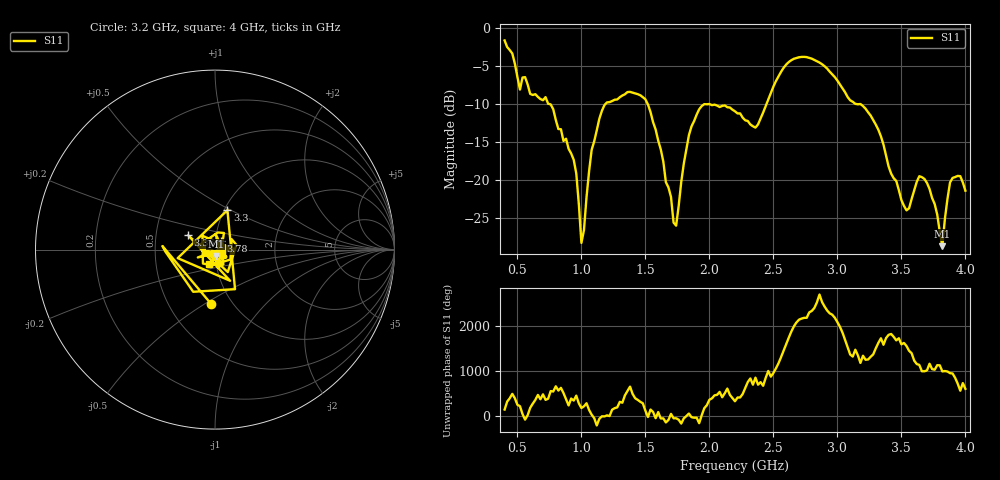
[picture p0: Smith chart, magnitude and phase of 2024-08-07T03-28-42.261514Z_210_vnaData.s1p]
!Created with skrf (http://scikit-rf.org).
# Hz S RI R 50.0
!freq ReS11 ImS11
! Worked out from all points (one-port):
!   181 points, 400 MHz to 4 GHz, reference 50 ohm
!   lowest |S11| = -28.8 dB at 3.82 GHz (marker M1), VSWR 1.08, Z = 50.3 - j3.64 ohm
!   |S11| at or under -10 dB: 741.2 MHz to 1.19 GHz (448.4 MHz wide, 46.4 % of centre); 1.517 GHz to 2.447 GHz (929.7 MHz wide, 46.9 % of centre); 3.139 GHz to end of sweep
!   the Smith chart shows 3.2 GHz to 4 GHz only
!   S11 on the Smith chart (normalised r, x): 3.2 GHz: 0.80, -0.54; 3.3 GHz: 1.04, +0.48; 3.36 GHz: 0.73, +0.12; 3.78 GHz: 1.07, +0.10; 4 GHz: 0.93, -0.15
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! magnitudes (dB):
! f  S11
! 400 MHz  -1.6
! 520 MHz  -8.1
! 720 MHz  -9.1
! 860 MHz  -14.9
! 960 MHz  -19.2
! 1 GHz  -28.4
! 1.08 GHz  -16.1
! 1.14 GHz  -12.0
! 1.3 GHz  -9.1
! 1.5 GHz  -9.4
! 1.62 GHz  -16.0
! 1.72 GHz  -25.7
! 1.76 GHz  -23.5
! 1.84 GHz  -14.1
! 1.92 GHz  -10.7
! 2.2 GHz  -11.0
! 2.36 GHz  -13.1
! 2.66 GHz  -4.1
! 3.1 GHz  -9.5
! 3.2 GHz  -10.3
! 3.3 GHz  -12.7
! 3.36 GHz  -15.4
! 3.56 GHz  -23.8
! 3.64 GHz  -19.6
! 3.78 GHz  -24.6
! 3.82 GHz  -28.8
! 3.88 GHz  -20.4
! 4 GHz  -21.5
